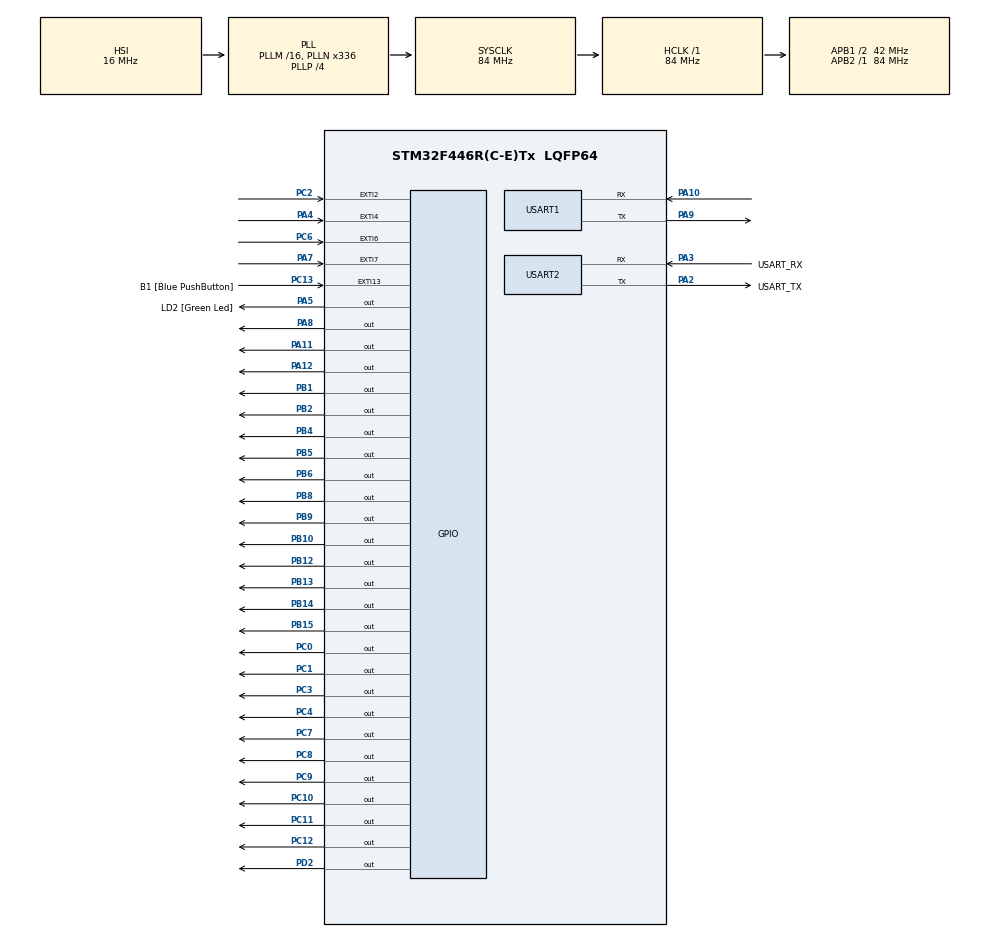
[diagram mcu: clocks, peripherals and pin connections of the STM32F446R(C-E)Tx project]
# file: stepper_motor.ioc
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Mcu.Family=STM32F4
Mcu.Name=STM32F446R(C-E)Tx
Mcu.Package=LQFP64
NVIC.PriorityGroup=NVIC_PRIORITYGROUP_0
NVIC.TIM2_IRQn=true\:0\:0\:false\:false\:true\:true\:true\:true
PA10.Mode=Asynchronous
PA10.Signal=USART1_RX
PA11.Signal=GPIO_Output
PA12.Signal=GPIO_Output
PA13.GPIO_Label=TMS
PA13.Mode=Serial_Wire
PA13.Signal=SYS_JTMS-SWDIO
PA14.GPIO_Label=TCK
PA14.Mode=Serial_Wire
PA14.Signal=SYS_JTCK-SWCLK
PA2.GPIO_Label=USART_TX
PA2.Mode=Asynchronous
PA2.Signal=USART2_TX
PA3.GPIO_Label=USART_RX
PA3.Mode=Asynchronous
PA3.Signal=USART2_RX
PA4.Signal=GPXTI4
PA5.GPIO_Label=LD2 [Green Led]
PA5.Signal=GPIO_Output
PA7.Signal=GPXTI7
PA8.Signal=GPIO_Output
PA9.Mode=Asynchronous
PA9.Signal=USART1_TX
PB1.Signal=GPIO_Output
PB10.Signal=GPIO_Output
PB12.Signal=GPIO_Output
PB13.Signal=GPIO_Output
PB14.Signal=GPIO_Output
PB15.Signal=GPIO_Output
PB2.Signal=GPIO_Output
PB3.GPIO_Label=SWO
PB3.Signal=SYS_JTDO-SWO
PB4.Signal=GPIO_Output
PB5.Signal=GPIO_Output
PB6.Signal=GPIO_Output
PB8.Signal=GPIO_Output
PB9.Signal=GPIO_Output
PC0.Signal=GPIO_Output
PC1.Signal=GPIO_Output
PC10.Signal=GPIO_Output
PC11.Signal=GPIO_Output
PC12.Signal=GPIO_Output
PC13.GPIO_Label=B1 [Blue PushButton]
PC13.GPIO_ModeDefaultEXTI=GPIO_MODE_IT_FALLING
PC13.Signal=GPXTI13
PC14-OSC32_IN.Mode=LSE-External-Oscillator
PC14-OSC32_IN.Signal=RCC_OSC32_IN
PC15-OSC32_OUT.Mode=LSE-External-Oscillator
PC15-OSC32_OUT.Signal=RCC_OSC32_OUT
PC2.Signal=GPXTI2
PC3.Signal=GPIO_Output
PC4.Signal=GPIO_Output
PC6.Signal=GPXTI6
PC7.Signal=GPIO_Output
PC8.Signal=GPIO_Output
PC9.Signal=GPIO_Output
PD2.Signal=GPIO_Output
PH0-OSC_IN.Mode=HSE-External-Oscillator
PH0-OSC_IN.Signal=RCC_OSC_IN
PH1-OSC_OUT.Mode=HSE-External-Oscillator
PH1-OSC_OUT.Signal=RCC_OSC_OUT
ProjectManager.HeapSize=0x200
ProjectManager.StackSize=0x400
ProjectManager.TargetToolchain=STM32CubeIDE
RCC.48MHZClocksFreq_Value=84000000
RCC.AHBFreq_Value=84000000
RCC.APB1CLKDivider=RCC_HCLK_DIV2
RCC.APB1Freq_Value=42000000
RCC.APB1TimFreq_Value=84000000
RCC.APB2Freq_Value=84000000
RCC.APB2TimFreq_Value=84000000
RCC.CortexFreq_Value=84000000
RCC.FLatency-AdvancedSettings=FLASH_LATENCY_2
RCC.HCLKFreq_Value=84000000
RCC.HSE_VALUE=8000000
RCC.HSI_VALUE=16000000
RCC.PLLN=336
RCC.PLLP=RCC_PLLP_DIV4
RCC.SYSCLKFreq_VALUE=84000000
RCC.SYSCLKSource=RCC_SYSCLKSOURCE_PLLCLK
RCC.USBFreq_Value=168000000
RCC.VCOOutputFreq_Value=336000000
USART1.VirtualMode=VM_ASYNC
USART2.VirtualMode=VM_ASYNC
VP_TIM1_VS_ClockSourceINT.Mode=Internal
VP_TIM2_VS_ClockSourceINT.Mode=Internal
board=NUCLEO-F446RE

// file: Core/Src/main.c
/* USER CODE BEGIN Header */
/**
  ******************************************************************************
  * @file           : main.c
  * @brief          : Main program body
  ******************************************************************************
  * @attention
  *
  * Copyright (c) 2026 STMicroelectronics.
  * All rights reserved.
  *
  * This software is licensed under terms that can be found in the LICENSE file
  * in the root directory of this software component.
  * If no LICENSE file comes with this software, it is provided AS-IS.
  *
  ******************************************************************************
  */
/* USER CODE END Header */
#include "main.h"

/* USER CODE BEGIN Includes */
#include <stdio.h>
#include <math.h>
#include <stdlib.h>
#include <string.h>
/* USER CODE END Includes */

/* USER CODE BEGIN PD */
#ifdef __GNUC__
#define PUTCHAR_PROTOTYPE int __io_putchar(int ch)
#else
#define PUTCHAR_PROTOTYPE int fputc(int ch, FILE *f)
#endif

PUTCHAR_PROTOTYPE {
	if (ch == '\n')
		HAL_UART_Transmit(&huart2, (uint8_t*) "\r", 1, 0xFFFF);
	HAL_UART_Transmit(&huart2, (uint8_t*) &ch, 1, 0xFFFF);
	return ch;
}
/* USER CODE END PD */

TIM_HandleTypeDef htim1;
TIM_HandleTypeDef htim2;

UART_HandleTypeDef huart1;
UART_HandleTypeDef huart2;

/* USER CODE BEGIN PV */
void loop(void);
void moveStepper3(float distance_move_x, float distance_move_y);
void z_motor(void);
void move_to_bin(char bin[], int steps_needed_x, int steps_needed_y);
void moveStepper4(float distance_move_x, float distance_move_y);
int calculate_steps_to_move(float distance_mm, float pitch_mm, int pulley_teeth,
		float step_angle_deg);
void delay_us(uint32_t us);
void send_uart_message(const char *msg);
/* USER CODE END PV */

void SystemClock_Config(void);
static void MX_GPIO_Init(void);
static void MX_USART2_UART_Init(void);
static void MX_USART1_UART_Init(void);
static void MX_TIM1_Init(void);
static void MX_TIM2_Init(void);

/* USER CODE BEGIN 0 */
/* ===== UART RX (USART1) ===== */
#define RX_BUFFER_SIZE 64

volatile uint8_t rx_data = 0;
volatile char rx_buffer[RX_BUFFER_SIZE];
volatile uint16_t rx_index = 0;

volatile uint8_t data_received = 0;
volatile uint8_t received_first_value = 0;   // 0: x, 1: y, 2: object_type

volatile float distance_to_move  = 0.0f;
volatile float distance_to_move2 = 0.0f;

volatile uint8_t coordinates_received   = 0;
volatile uint8_t object_type_received   = 0;

char object_type[16] = {0};
char last_object[16] = {0};

/* ===== State flags ===== */
volatile uint8_t flag1 = 1;
volatile uint8_t flag2 = 0;
volatile uint8_t flag3 = 0;

/* ===== Step 계산/보관 ===== */
volatile int steps_needed_x2 = 0;
volatile int steps_needed_y2 = 0;

/* ===== Home / Limit switch 상태 =====
 * 1: 아직 스위치 안눌림(이동 계속), 0: 스위치 눌림(정지/완료)
 */
volatile uint8_t x_right_switch = 1;
volatile uint8_t y_switch       = 1;
volatile uint8_t z_switch       = 1;
volatile uint8_t z_rail_switch  = 1;

/* ===== Timer watchdog ===== */
volatile uint32_t timer_count = 0;
const uint32_t max_timer_count = 3000;   // 필요에 맞게 조정

/* ===== Bin 좌표(스텝 기준) / 현재 위치 =====
 * 아래 값들은 실제 장비 캘리브레이션 값으로 바꿔주세요.
 */
int can_bin_x   = 0;
int can_bin_y   = 0;
int pet_bin_x   = 0;
int pet_bin_y   = 0;
int glass_bin_x = 0;
int glass_bin_y = 0;

int current_x = 0;
int current_y = 0;

/* USER CODE END 0 */

int main(void)
{

  /* MCU Configuration--------------------------------------------------------*/

  /* Reset of all peripherals, Initializes the Flash interface and the Systick. */
  HAL_Init();

  /* Configure the system clock */
  SystemClock_Config();

  /* Initialize all configured peripherals */
  MX_GPIO_Init();
  MX_USART2_UART_Init();
  MX_USART1_UART_Init();
  MX_TIM1_Init();
  MX_TIM2_Init();
  /* USER CODE BEGIN 2 */
  HAL_UART_Receive_IT(&huart2, (uint8_t*)&rx_data, 1);
   HAL_TIM_Base_Start_IT(&htim1);
  /* USER CODE END 2 */

  /* Infinite loop */
  /* USER CODE BEGIN WHILE */
  while (1)
  {
	  loop();
    /* USER CODE END WHILE */

  }
}

void SystemClock_Config(void)
{
  RCC_OscInitTypeDef RCC_OscInitStruct = {0};
  RCC_ClkInitTypeDef RCC_ClkInitStruct = {0};

  /** Configure the main internal regulator output voltage
  */
  __HAL_RCC_PWR_CLK_ENABLE();
  __HAL_PWR_VOLTAGESCALING_CONFIG(PWR_REGULATOR_VOLTAGE_SCALE3);

  /** Initializes the RCC Oscillators according to the specified parameters
  * in the RCC_OscInitTypeDef structure.
  */
  RCC_OscInitStruct.OscillatorType = RCC_OSCILLATORTYPE_HSI;
  RCC_OscInitStruct.HSIState = RCC_HSI_ON;
  RCC_OscInitStruct.HSICalibrationValue = RCC_HSICALIBRATION_DEFAULT;
  RCC_OscInitStruct.PLL.PLLState = RCC_PLL_ON;
  RCC_OscInitStruct.PLL.PLLSource = RCC_PLLSOURCE_HSI;
  RCC_OscInitStruct.PLL.PLLM = 16;
  RCC_OscInitStruct.PLL.PLLN = 336;
  RCC_OscInitStruct.PLL.PLLP = RCC_PLLP_DIV4;
  RCC_OscInitStruct.PLL.PLLQ = 2;
  RCC_OscInitStruct.PLL.PLLR = 2;
  if (HAL_RCC_OscConfig(&RCC_OscInitStruct) != HAL_OK)
  {
    Error_Handler();
  }

  /** Initializes the CPU, AHB and APB buses clocks
  */
  RCC_ClkInitStruct.ClockType = RCC_CLOCKTYPE_HCLK|RCC_CLOCKTYPE_SYSCLK
                              |RCC_CLOCKTYPE_PCLK1|RCC_CLOCKTYPE_PCLK2;
  RCC_ClkInitStruct.SYSCLKSource = RCC_SYSCLKSOURCE_PLLCLK;
  RCC_ClkInitStruct.AHBCLKDivider = RCC_SYSCLK_DIV1;
  RCC_ClkInitStruct.APB1CLKDivider = RCC_HCLK_DIV2;
  RCC_ClkInitStruct.APB2CLKDivider = RCC_HCLK_DIV1;

  if (HAL_RCC_ClockConfig(&RCC_ClkInitStruct, FLASH_LATENCY_2) != HAL_OK)
  {
    Error_Handler();
  }
}

static void MX_TIM1_Init(void)
{

  TIM_ClockConfigTypeDef sClockSourceConfig = {0};
  TIM_MasterConfigTypeDef sMasterConfig = {0};

  htim1.Instance = TIM1;
  htim1.Init.Prescaler = 0;
  htim1.Init.CounterMode = TIM_COUNTERMODE_UP;
  htim1.Init.Period = 65535;
  htim1.Init.ClockDivision = TIM_CLOCKDIVISION_DIV1;
  htim1.Init.RepetitionCounter = 0;
  htim1.Init.AutoReloadPreload = TIM_AUTORELOAD_PRELOAD_DISABLE;
  if (HAL_TIM_Base_Init(&htim1) != HAL_OK)
  {
    Error_Handler();
  }
  sClockSourceConfig.ClockSource = TIM_CLOCKSOURCE_INTERNAL;
  if (HAL_TIM_ConfigClockSource(&htim1, &sClockSourceConfig) != HAL_OK)
  {
    Error_Handler();
  }
  sMasterConfig.MasterOutputTrigger = TIM_TRGO_RESET;
  sMasterConfig.MasterSlaveMode = TIM_MASTERSLAVEMODE_DISABLE;
  if (HAL_TIMEx_MasterConfigSynchronization(&htim1, &sMasterConfig) != HAL_OK)
  {
    Error_Handler();
  }

}

static void MX_TIM2_Init(void)
{

  TIM_ClockConfigTypeDef sClockSourceConfig = {0};
  TIM_MasterConfigTypeDef sMasterConfig = {0};

  htim2.Instance = TIM2;
  htim2.Init.Prescaler = 0;
  htim2.Init.CounterMode = TIM_COUNTERMODE_UP;
  htim2.Init.Period = 4294967295;
  htim2.Init.ClockDivision = TIM_CLOCKDIVISION_DIV1;
  htim2.Init.AutoReloadPreload = TIM_AUTORELOAD_PRELOAD_DISABLE;
  if (HAL_TIM_Base_Init(&htim2) != HAL_OK)
  {
    Error_Handler();
  }
  sClockSourceConfig.ClockSource = TIM_CLOCKSOURCE_INTERNAL;
  if (HAL_TIM_ConfigClockSource(&htim2, &sClockSourceConfig) != HAL_OK)
  {
    Error_Handler();
  }
  sMasterConfig.MasterOutputTrigger = TIM_TRGO_RESET;
  sMasterConfig.MasterSlaveMode = TIM_MASTERSLAVEMODE_DISABLE;
  if (HAL_TIMEx_MasterConfigSynchronization(&htim2, &sMasterConfig) != HAL_OK)
  {
    Error_Handler();
  }

}

static void MX_USART1_UART_Init(void)
{

  huart1.Instance = USART1;
  huart1.Init.BaudRate = 115200;
  huart1.Init.WordLength = UART_WORDLENGTH_8B;
  huart1.Init.StopBits = UART_STOPBITS_1;
  huart1.Init.Parity = UART_PARITY_NONE;
  huart1.Init.Mode = UART_MODE_TX_RX;
  huart1.Init.HwFlowCtl = UART_HWCONTROL_NONE;
  huart1.Init.OverSampling = UART_OVERSAMPLING_16;
  if (HAL_UART_Init(&huart1) != HAL_OK)
  {
    Error_Handler();
  }

}

static void MX_USART2_UART_Init(void)
{

  huart2.Instance = USART2;
  huart2.Init.BaudRate = 115200;
  huart2.Init.WordLength = UART_WORDLENGTH_8B;
  huart2.Init.StopBits = UART_STOPBITS_1;
  huart2.Init.Parity = UART_PARITY_NONE;
  huart2.Init.Mode = UART_MODE_TX_RX;
  huart2.Init.HwFlowCtl = UART_HWCONTROL_NONE;
  huart2.Init.OverSampling = UART_OVERSAMPLING_16;
  if (HAL_UART_Init(&huart2) != HAL_OK)
  {
    Error_Handler();
  }

}

static void MX_GPIO_Init(void)
{
  GPIO_InitTypeDef GPIO_InitStruct = {0};

  /* GPIO Ports Clock Enable */
  __HAL_RCC_GPIOC_CLK_ENABLE();
  __HAL_RCC_GPIOH_CLK_ENABLE();
  __HAL_RCC_GPIOA_CLK_ENABLE();
  __HAL_RCC_GPIOB_CLK_ENABLE();
  __HAL_RCC_GPIOD_CLK_ENABLE();

  /*Configure GPIO pin Output Level */
  HAL_GPIO_WritePin(GPIOC, GPIO_PIN_0|GPIO_PIN_1|GPIO_PIN_3|GPIO_PIN_4
                          |GPIO_PIN_7|GPIO_PIN_8|GPIO_PIN_9|GPIO_PIN_10
                          |GPIO_PIN_11|GPIO_PIN_12, GPIO_PIN_RESET);

  /*Configure GPIO pin Output Level */
  HAL_GPIO_WritePin(GPIOA, LD2_Pin|GPIO_PIN_8|GPIO_PIN_11|GPIO_PIN_12, GPIO_PIN_RESET);

  /*Configure GPIO pin Output Level */
  HAL_GPIO_WritePin(GPIOB, GPIO_PIN_1|GPIO_PIN_2|GPIO_PIN_10|GPIO_PIN_12
                          |GPIO_PIN_13|GPIO_PIN_14|GPIO_PIN_15|GPIO_PIN_4
                          |GPIO_PIN_5|GPIO_PIN_6|GPIO_PIN_8|GPIO_PIN_9, GPIO_PIN_RESET);

  /*Configure GPIO pin Output Level */
  HAL_GPIO_WritePin(GPIOD, GPIO_PIN_2, GPIO_PIN_RESET);

  /*Configure GPIO pin : B1_Pin */
  GPIO_InitStruct.Pin = B1_Pin;
  GPIO_InitStruct.Mode = GPIO_MODE_IT_FALLING;
  GPIO_InitStruct.Pull = GPIO_NOPULL;
  HAL_GPIO_Init(B1_GPIO_Port, &GPIO_InitStruct);

  /*Configure GPIO pins : PC0 PC1 PC3 PC4
                           PC7 PC8 PC9 PC10
                           PC11 PC12 */
  GPIO_InitStruct.Pin = GPIO_PIN_0|GPIO_PIN_1|GPIO_PIN_3|GPIO_PIN_4
                          |GPIO_PIN_7|GPIO_PIN_8|GPIO_PIN_9|GPIO_PIN_10
                          |GPIO_PIN_11|GPIO_PIN_12;
  GPIO_InitStruct.Mode = GPIO_MODE_OUTPUT_PP;
  GPIO_InitStruct.Pull = GPIO_NOPULL;
  GPIO_InitStruct.Speed = GPIO_SPEED_FREQ_LOW;
  HAL_GPIO_Init(GPIOC, &GPIO_InitStruct);

  /*Configure GPIO pins : PC2 PC6 */
  GPIO_InitStruct.Pin = GPIO_PIN_2|GPIO_PIN_6;
  GPIO_InitStruct.Mode = GPIO_MODE_IT_RISING;
  GPIO_InitStruct.Pull = GPIO_NOPULL;
  HAL_GPIO_Init(GPIOC, &GPIO_InitStruct);

  /*Configure GPIO pins : PA4 PA7 */
  GPIO_InitStruct.Pin = GPIO_PIN_4|GPIO_PIN_7;
  GPIO_InitStruct.Mode = GPIO_MODE_IT_RISING;
  GPIO_InitStruct.Pull = GPIO_NOPULL;
  HAL_GPIO_Init(GPIOA, &GPIO_InitStruct);

  /*Configure GPIO pins : LD2_Pin PA8 PA11 PA12 */
  GPIO_InitStruct.Pin = LD2_Pin|GPIO_PIN_8|GPIO_PIN_11|GPIO_PIN_12;
  GPIO_InitStruct.Mode = GPIO_MODE_OUTPUT_PP;
  GPIO_InitStruct.Pull = GPIO_NOPULL;
  GPIO_InitStruct.Speed = GPIO_SPEED_FREQ_LOW;
  HAL_GPIO_Init(GPIOA, &GPIO_InitStruct);

  /*Configure GPIO pins : PB1 PB2 PB10 PB12
                           PB13 PB14 PB15 PB4
                           PB5 PB6 PB8 PB9 */
  GPIO_InitStruct.Pin = GPIO_PIN_1|GPIO_PIN_2|GPIO_PIN_10|GPIO_PIN_12
                          |GPIO_PIN_13|GPIO_PIN_14|GPIO_PIN_15|GPIO_PIN_4
                          |GPIO_PIN_5|GPIO_PIN_6|GPIO_PIN_8|GPIO_PIN_9;
  GPIO_InitStruct.Mode = GPIO_MODE_OUTPUT_PP;
  GPIO_InitStruct.Pull = GPIO_NOPULL;
  GPIO_InitStruct.Speed = GPIO_SPEED_FREQ_LOW;
  HAL_GPIO_Init(GPIOB, &GPIO_InitStruct);

  /*Configure GPIO pin : PD2 */
  GPIO_InitStruct.Pin = GPIO_PIN_2;
  GPIO_InitStruct.Mode = GPIO_MODE_OUTPUT_PP;
  GPIO_InitStruct.Pull = GPIO_NOPULL;
  GPIO_InitStruct.Speed = GPIO_SPEED_FREQ_LOW;
  HAL_GPIO_Init(GPIOD, &GPIO_InitStruct);

}

/* USER CODE BEGIN 4 */
void loop(void) {
	HAL_GPIO_WritePin(GPIOB, GPIO_PIN_8, GPIO_PIN_RESET);
	HAL_GPIO_WritePin(GPIOB, GPIO_PIN_9, GPIO_PIN_RESET);
	HAL_GPIO_WritePin(GPIOC, GPIO_PIN_9, GPIO_PIN_RESET);
	HAL_GPIO_WritePin(GPIOB, GPIO_PIN_4, GPIO_PIN_RESET);
	HAL_GPIO_WritePin(GPIOC, GPIO_PIN_10, GPIO_PIN_RESET);
	HAL_GPIO_WritePin(GPIOC, GPIO_PIN_12, GPIO_PIN_RESET);
	HAL_GPIO_WritePin(GPIOB, GPIO_PIN_2, GPIO_PIN_RESET);
	if (flag1) {
		if (data_received) {
			moveStepper3(distance_to_move, distance_to_move2);
			flag1 = 0;
			flag2 = 1;
			x_right_switch = y_switch = z_switch = z_rail_switch = 1;
			timer_count = 0;
			HAL_TIM_Base_Start_IT(&htim1);
		}
	}
	if (flag2) {
		if (object_type_received) {
			if (strcmp(object_type, "can") == 0
					|| strcmp(object_type, "pet") == 0
					|| strcmp(object_type, "glass") == 0) {
				move_to_bin(object_type, steps_needed_x2, steps_needed_y2);
				if (strcmp(last_object, object_type) != 0) {
					strcpy(last_object, object_type);
				}
				x_right_switch = y_switch = z_switch = z_rail_switch = 1;
				flag2 = 0;
				flag3 = 1;
				object_type_received = 0;
				timer_count = 0;
				HAL_TIM_Base_Start_IT(&htim1);
			}
		}
	}
	if (flag3) {
		if (coordinates_received) {
			moveStepper4(distance_to_move, distance_to_move2);
			coordinates_received = 0;
			x_right_switch = y_switch = z_switch = z_rail_switch = 1;
			flag3 = 0;
			flag2 = 1;
			timer_count = 0;
			HAL_TIM_Base_Start_IT(&htim1);
		}
	}
}

void moveStepper3(float distance_move_x, float distance_move_y) {

	int steps_needed_x = calculate_steps_to_move(fabs(distance_move_x), 2.0, 20,
			0.45);
	int steps_needed_y = calculate_steps_to_move(fabs(distance_move_y), 2.0, 20,
			0.45);

	steps_needed_x2 = steps_needed_x - 3600 - 3500;
	steps_needed_y2 = 7300 - 2000 - steps_needed_y;

	if (distance_move_x < 0.0) {
		HAL_GPIO_WritePin(GPIOB, GPIO_PIN_6, GPIO_PIN_RESET);
		HAL_GPIO_WritePin(GPIOC, GPIO_PIN_7, GPIO_PIN_SET);
		HAL_GPIO_WritePin(GPIOA, GPIO_PIN_12, GPIO_PIN_RESET);
		HAL_GPIO_WritePin(GPIOA, GPIO_PIN_11, GPIO_PIN_SET);
	} else {
		HAL_GPIO_WritePin(GPIOB, GPIO_PIN_6, GPIO_PIN_SET);
		HAL_GPIO_WritePin(GPIOC, GPIO_PIN_7, GPIO_PIN_RESET);
		HAL_GPIO_WritePin(GPIOA, GPIO_PIN_12, GPIO_PIN_SET);
		HAL_GPIO_WritePin(GPIOA, GPIO_PIN_11, GPIO_PIN_RESET);
	}

	if (distance_move_y < 0.0) {
		HAL_GPIO_WritePin(GPIOC, GPIO_PIN_11, GPIO_PIN_RESET);
		HAL_GPIO_WritePin(GPIOD, GPIO_PIN_2, GPIO_PIN_SET);
	} else {
		HAL_GPIO_WritePin(GPIOC, GPIO_PIN_11, GPIO_PIN_SET);
		HAL_GPIO_WritePin(GPIOD, GPIO_PIN_2, GPIO_PIN_RESET);
	}

	steps_needed_x2 = fabs(steps_needed_x2);
	steps_needed_y2 = fabs(steps_needed_y2);

	int max_steps =
			(steps_needed_x2 > steps_needed_y2) ?
					steps_needed_x2 : steps_needed_y2;
	int step_x = 0;
	int step_y = 0;

	for (int i = 0; i < max_steps; i++) {

		if (step_x < steps_needed_x2
				&& (i % (max_steps / steps_needed_x2)) == 0) {
			HAL_GPIO_WritePin(GPIOA, GPIO_PIN_8, GPIO_PIN_SET);
			HAL_GPIO_WritePin(GPIOB, GPIO_PIN_10, GPIO_PIN_RESET);
			HAL_GPIO_WritePin(GPIOB, GPIO_PIN_12, GPIO_PIN_SET);
			HAL_GPIO_WritePin(GPIOB, GPIO_PIN_11, GPIO_PIN_RESET);
			delay_us(150);
			HAL_GPIO_WritePin(GPIOA, GPIO_PIN_8, GPIO_PIN_RESET);
			HAL_GPIO_WritePin(GPIOB, GPIO_PIN_10, GPIO_PIN_SET);
			HAL_GPIO_WritePin(GPIOB, GPIO_PIN_12, GPIO_PIN_RESET);
			HAL_GPIO_WritePin(GPIOB, GPIO_PIN_11, GPIO_PIN_SET);
			step_x++;
		}

		if (step_y < steps_needed_y2
				&& (i % (max_steps / steps_needed_y2)) == 0) {
			HAL_GPIO_WritePin(GPIOC, GPIO_PIN_2, GPIO_PIN_SET);
			HAL_GPIO_WritePin(GPIOC, GPIO_PIN_3, GPIO_PIN_RESET);
			delay_us(150);
			HAL_GPIO_WritePin(GPIOC, GPIO_PIN_2, GPIO_PIN_RESET);
			HAL_GPIO_WritePin(GPIOC, GPIO_PIN_3, GPIO_PIN_SET);
			step_y++;
		}

		delay_us(150);
	}

	distance_move_x = 0.0;
	distance_move_y = 0.0;

	z_motor();
}

void z_motor(void) {

	HAL_GPIO_WritePin(GPIOC, GPIO_PIN_4, GPIO_PIN_SET);

	for (int i = 0; i < 35000; i++) {

		HAL_GPIO_WritePin(GPIOB, GPIO_PIN_1, GPIO_PIN_SET);
		delay_us(500);
		HAL_GPIO_WritePin(GPIOB, GPIO_PIN_1, GPIO_PIN_RESET);
		delay_us(500);

		if (z_rail_switch == 0) {
			break;
		}
	}

	HAL_GPIO_WritePin(GPIOC, GPIO_PIN_1, GPIO_PIN_SET);
	HAL_Delay(3000);

	HAL_GPIO_WritePin(GPIOC, GPIO_PIN_4, GPIO_PIN_RESET);

	for (int i = 0; i < 6000; i++) {
		HAL_GPIO_WritePin(GPIOB, GPIO_PIN_1, GPIO_PIN_SET);
		delay_us(500);
		HAL_GPIO_WritePin(GPIOB, GPIO_PIN_1, GPIO_PIN_RESET);
		delay_us(500);
	}

	send_uart_message("yes\n");
}

void move_to_bin(char bin[], int steps_needed_x, int steps_needed_y) {

	HAL_TIM_Base_Stop_IT(&htim1);

	if (strcmp(bin, "can") == 0) {
		int can_move_x = can_bin_x - steps_needed_x;
		int can_move_y = can_bin_y - steps_needed_y;
		current_x = can_bin_x;
		current_y = can_bin_y;

		if (can_move_x < 0) {
			HAL_GPIO_WritePin(GPIOB, GPIO_PIN_6, GPIO_PIN_RESET);
			HAL_GPIO_WritePin(GPIOC, GPIO_PIN_7, GPIO_PIN_SET);
			HAL_GPIO_WritePin(GPIOA, GPIO_PIN_12, GPIO_PIN_RESET);
			HAL_GPIO_WritePin(GPIOA, GPIO_PIN_11, GPIO_PIN_SET);

		} else if (can_move_x > 0) {

			HAL_GPIO_WritePin(GPIOB, GPIO_PIN_6, GPIO_PIN_SET);
			HAL_GPIO_WritePin(GPIOC, GPIO_PIN_7, GPIO_PIN_RESET);
			HAL_GPIO_WritePin(GPIOA, GPIO_PIN_12, GPIO_PIN_SET);
			HAL_GPIO_WritePin(GPIOA, GPIO_PIN_11, GPIO_PIN_RESET);

		}

		if (can_move_y < 0) {
			HAL_GPIO_WritePin(GPIOC, GPIO_PIN_11, GPIO_PIN_RESET);
			HAL_GPIO_WritePin(GPIOD, GPIO_PIN_2, GPIO_PIN_SET);
		} else if (can_move_y > 0) {
			HAL_GPIO_WritePin(GPIOC, GPIO_PIN_11, GPIO_PIN_SET);
			HAL_GPIO_WritePin(GPIOD, GPIO_PIN_2, GPIO_PIN_RESET);
		}

		int additional_steps_x = fabs(can_move_x);
		int additional_steps_y = fabs(can_move_y);
		int additional_max_steps =
				(additional_steps_x > additional_steps_y) ?
						additional_steps_x : additional_steps_y;
		int step_x = 0;
		int step_y = 0;

		for (int i = 0; i < additional_max_steps; i++) {

			if (step_x < additional_steps_x
					&& (i % (additional_max_steps / additional_steps_x)) == 0) {
				HAL_GPIO_WritePin(GPIOA, GPIO_PIN_8, GPIO_PIN_SET);
				HAL_GPIO_WritePin(GPIOB, GPIO_PIN_10, GPIO_PIN_RESET);
				HAL_GPIO_WritePin(GPIOB, GPIO_PIN_12, GPIO_PIN_SET);
				HAL_GPIO_WritePin(GPIOB, GPIO_PIN_11, GPIO_PIN_RESET);
				delay_us(150);
				HAL_GPIO_WritePin(GPIOA, GPIO_PIN_8, GPIO_PIN_RESET);
				HAL_GPIO_WritePin(GPIOB, GPIO_PIN_10, GPIO_PIN_SET);
				HAL_GPIO_WritePin(GPIOB, GPIO_PIN_12, GPIO_PIN_RESET);
				HAL_GPIO_WritePin(GPIOB, GPIO_PIN_11, GPIO_PIN_SET);
				step_x++;
			}

			if (step_y < additional_steps_y
					&& (i % (additional_max_steps / additional_steps_y)) == 0) {
				HAL_GPIO_WritePin(GPIOC, GPIO_PIN_2, GPIO_PIN_SET);
				HAL_GPIO_WritePin(GPIOC, GPIO_PIN_3, GPIO_PIN_RESET);
				delay_us(150);
				HAL_GPIO_WritePin(GPIOC, GPIO_PIN_2, GPIO_PIN_RESET);
				HAL_GPIO_WritePin(GPIOC, GPIO_PIN_3, GPIO_PIN_SET);
				step_y++;
			}

			delay_us(150);

		}

	}

	else if (strcmp(bin, "pet") == 0) {
		int pet_move_x = pet_bin_x - steps_needed_x;
		int pet_move_y = pet_bin_y - steps_needed_y;
		current_x = pet_bin_x;
		current_y = pet_bin_y;

		if (pet_move_x < 0) {
			HAL_GPIO_WritePin(GPIOB, GPIO_PIN_6, GPIO_PIN_RESET);
			HAL_GPIO_WritePin(GPIOC, GPIO_PIN_7, GPIO_PIN_SET);
			HAL_GPIO_WritePin(GPIOA, GPIO_PIN_12, GPIO_PIN_RESET);
			HAL_GPIO_WritePin(GPIOA, GPIO_PIN_11, GPIO_PIN_SET);

		} else if (pet_move_x > 0) {

			HAL_GPIO_WritePin(GPIOB, GPIO_PIN_6, GPIO_PIN_SET);
			HAL_GPIO_WritePin(GPIOC, GPIO_PIN_7, GPIO_PIN_RESET);
			HAL_GPIO_WritePin(GPIOA, GPIO_PIN_12, GPIO_PIN_SET);
			HAL_GPIO_WritePin(GPIOA, GPIO_PIN_11, GPIO_PIN_RESET);

		}

		if (pet_move_y < 0) {
			HAL_GPIO_WritePin(GPIOC, GPIO_PIN_11, GPIO_PIN_RESET);
			HAL_GPIO_WritePin(GPIOD, GPIO_PIN_2, GPIO_PIN_SET);
		} else if (pet_move_y > 0) {
			HAL_GPIO_WritePin(GPIOC, GPIO_PIN_11, GPIO_PIN_SET);
			HAL_GPIO_WritePin(GPIOD, GPIO_PIN_2, GPIO_PIN_RESET);
		}

		int additional_steps_x = fabs(pet_move_x);
		int additional_steps_y = fabs(pet_move_y);
		int additional_max_steps =
				(additional_steps_x > additional_steps_y) ?
						additional_steps_x : additional_steps_y;
		int step_x = 0;
		int step_y = 0;

		for (int i = 0; i < additional_max_steps; i++) {

			if (step_x < additional_steps_x
					&& (i % (additional_max_steps / additional_steps_x)) == 0) {
				HAL_GPIO_WritePin(GPIOA, GPIO_PIN_8, GPIO_PIN_SET);
				HAL_GPIO_WritePin(GPIOB, GPIO_PIN_10, GPIO_PIN_RESET);
				HAL_GPIO_WritePin(GPIOB, GPIO_PIN_12, GPIO_PIN_SET);
				HAL_GPIO_WritePin(GPIOB, GPIO_PIN_11, GPIO_PIN_RESET);
				delay_us(150);
				HAL_GPIO_WritePin(GPIOA, GPIO_PIN_8, GPIO_PIN_RESET);
				HAL_GPIO_WritePin(GPIOB, GPIO_PIN_10, GPIO_PIN_SET);
				HAL_GPIO_WritePin(GPIOB, GPIO_PIN_12, GPIO_PIN_RESET);
				HAL_GPIO_WritePin(GPIOB, GPIO_PIN_11, GPIO_PIN_SET);
				step_x++;
			}

			if (step_y < additional_steps_y
					&& (i % (additional_max_steps / additional_steps_y)) == 0) {
				HAL_GPIO_WritePin(GPIOC, GPIO_PIN_2, GPIO_PIN_SET);
				HAL_GPIO_WritePin(GPIOC, GPIO_PIN_3, GPIO_PIN_RESET);
				delay_us(150);
				HAL_GPIO_WritePin(GPIOC, GPIO_PIN_2, GPIO_PIN_RESET);
				HAL_GPIO_WritePin(GPIOC, GPIO_PIN_3, GPIO_PIN_SET);
				step_y++;
			}

			delay_us(150);

		}

	}

	else if (strcmp(bin, "glass") == 0) {
		int glass_move_x = glass_bin_x - steps_needed_x;
		int glass_move_y = glass_bin_y - steps_needed_y;
		current_x = glass_bin_x;
		current_y = glass_bin_y;

		if (glass_move_x < 0) {
			HAL_GPIO_WritePin(GPIOB, GPIO_PIN_6, GPIO_PIN_RESET);
			HAL_GPIO_WritePin(GPIOC, GPIO_PIN_7, GPIO_PIN_SET);
			HAL_GPIO_WritePin(GPIOA, GPIO_PIN_12, GPIO_PIN_RESET);
			HAL_GPIO_WritePin(GPIOA, GPIO_PIN_11, GPIO_PIN_SET);

		} else if (glass_move_x > 0) {
			HAL_GPIO_WritePin(GPIOB, GPIO_PIN_6, GPIO_PIN_SET);
			HAL_GPIO_WritePin(GPIOC, GPIO_PIN_7, GPIO_PIN_RESET);
			HAL_GPIO_WritePin(GPIOA, GPIO_PIN_12, GPIO_PIN_SET);
			HAL_GPIO_WritePin(GPIOA, GPIO_PIN_11, GPIO_PIN_RESET);

		}

		if (glass_move_y < 0) {
			HAL_GPIO_WritePin(GPIOC, GPIO_PIN_11, GPIO_PIN_RESET);
			HAL_GPIO_WritePin(GPIOD, GPIO_PIN_2, GPIO_PIN_SET);
		} else if (glass_move_y > 0) {
			HAL_GPIO_WritePin(GPIOC, GPIO_PIN_11, GPIO_PIN_SET);
			HAL_GPIO_WritePin(GPIOD, GPIO_PIN_2, GPIO_PIN_RESET);
		}

		int additional_steps_x = fabs(glass_move_x);
		int additional_steps_y = fabs(glass_move_y);
		int additional_max_steps =
				(additional_steps_x > additional_steps_y) ?
						additional_steps_x : additional_steps_y;
		int step_x = 0;
		int step_y = 0;

		for (int i = 0; i < additional_max_steps; i++) {

			if (step_x < additional_steps_x
					&& (i % (additional_max_steps / additional_steps_x)) == 0) {
				HAL_GPIO_WritePin(GPIOA, GPIO_PIN_8, GPIO_PIN_SET);
				HAL_GPIO_WritePin(GPIOB, GPIO_PIN_10, GPIO_PIN_RESET);
				HAL_GPIO_WritePin(GPIOB, GPIO_PIN_12, GPIO_PIN_SET);
				HAL_GPIO_WritePin(GPIOB, GPIO_PIN_11, GPIO_PIN_RESET);
				delay_us(150);
				HAL_GPIO_WritePin(GPIOA, GPIO_PIN_8, GPIO_PIN_RESET);
				HAL_GPIO_WritePin(GPIOB, GPIO_PIN_10, GPIO_PIN_SET);
				HAL_GPIO_WritePin(GPIOB, GPIO_PIN_12, GPIO_PIN_RESET);
				HAL_GPIO_WritePin(GPIOB, GPIO_PIN_11, GPIO_PIN_SET);
				step_x++;
			}

			if (step_y < additional_steps_y
					&& (i % (additional_max_steps / additional_steps_y)) == 0) {
				HAL_GPIO_WritePin(GPIOC, GPIO_PIN_2, GPIO_PIN_SET);
				HAL_GPIO_WritePin(GPIOC, GPIO_PIN_3, GPIO_PIN_RESET);
				delay_us(150);
				HAL_GPIO_WritePin(GPIOC, GPIO_PIN_2, GPIO_PIN_RESET);
				HAL_GPIO_WritePin(GPIOC, GPIO_PIN_3, GPIO_PIN_SET);
				step_y++;
			}

			delay_us(150);

		}

	}
	distance_to_move = 0.0;
	distance_to_move2 = 0.0;
	HAL_Delay(2000);
	HAL_GPIO_WritePin(GPIOC, GPIO_PIN_1, GPIO_PIN_RESET);
	HAL_Delay(2000);

	send_uart_message("move\n");
}

void moveStepper4(float distance_move_x, float distance_move_y) {

	HAL_TIM_Base_Stop_IT(&htim1);

	int steps_needed_x = calculate_steps_to_move(fabs(distance_move_x), 2.0, 20,
			0.45);
	int steps_needed_y = calculate_steps_to_move(fabs(distance_move_y), 2.0, 20,
			0.45);

	int steps_needed_x3 = (steps_needed_x - 3600 - 3500) - current_x;
	int steps_needed_y3 = (steps_needed_y + 5300) - current_y;

	if (steps_needed_x3 < 0) {
		HAL_GPIO_WritePin(GPIOB, GPIO_PIN_6, GPIO_PIN_RESET);
		HAL_GPIO_WritePin(GPIOC, GPIO_PIN_7, GPIO_PIN_SET);
		HAL_GPIO_WritePin(GPIOA, GPIO_PIN_12, GPIO_PIN_RESET);
		HAL_GPIO_WritePin(GPIOA, GPIO_PIN_11, GPIO_PIN_SET);

	} else {
		HAL_GPIO_WritePin(GPIOB, GPIO_PIN_6, GPIO_PIN_SET);
		HAL_GPIO_WritePin(GPIOC, GPIO_PIN_7, GPIO_PIN_RESET);
		HAL_GPIO_WritePin(GPIOA, GPIO_PIN_12, GPIO_PIN_SET);
		HAL_GPIO_WritePin(GPIOA, GPIO_PIN_11, GPIO_PIN_RESET);

	}

	if (steps_needed_y3 < 0) {
		HAL_GPIO_WritePin(GPIOC, GPIO_PIN_11, GPIO_PIN_RESET);
		HAL_GPIO_WritePin(GPIOD, GPIO_PIN_2, GPIO_PIN_SET);
	} else {
		HAL_GPIO_WritePin(GPIOC, GPIO_PIN_11, GPIO_PIN_SET);
		HAL_GPIO_WritePin(GPIOD, GPIO_PIN_2, GPIO_PIN_RESET);
	}

	steps_needed_x3 = fabs(steps_needed_x3);
	steps_needed_y3 = fabs(steps_needed_y3);

	int max_steps3 =
			(steps_needed_x3 > steps_needed_y3) ?
					steps_needed_x3 : steps_needed_y3;
	int step_x = 0;
	int step_y = 0;

	for (int i = 0; i < max_steps3; i++) {

		if (step_x < steps_needed_x3
				&& (i % (max_steps3 / steps_needed_x3)) == 0) {
			HAL_GPIO_WritePin(GPIOA, GPIO_PIN_8, GPIO_PIN_SET);
			HAL_GPIO_WritePin(GPIOB, GPIO_PIN_10, GPIO_PIN_RESET);
			HAL_GPIO_WritePin(GPIOB, GPIO_PIN_12, GPIO_PIN_SET);
			HAL_GPIO_WritePin(GPIOB, GPIO_PIN_11, GPIO_PIN_RESET);
			delay_us(150);
			HAL_GPIO_WritePin(GPIOA, GPIO_PIN_8, GPIO_PIN_RESET);
			HAL_GPIO_WritePin(GPIOB, GPIO_PIN_10, GPIO_PIN_SET);
			HAL_GPIO_WritePin(GPIOB, GPIO_PIN_12, GPIO_PIN_RESET);
			HAL_GPIO_WritePin(GPIOB, GPIO_PIN_11, GPIO_PIN_SET);
			step_x++;
		}

		if (step_y < steps_needed_y3
				&& (i % (max_steps3 / steps_needed_y3)) == 0) {
			HAL_GPIO_WritePin(GPIOC, GPIO_PIN_2, GPIO_PIN_SET);
			HAL_GPIO_WritePin(GPIOC, GPIO_PIN_3, GPIO_PIN_RESET);
			delay_us(150);
			HAL_GPIO_WritePin(GPIOC, GPIO_PIN_2, GPIO_PIN_RESET);
			HAL_GPIO_WritePin(GPIOC, GPIO_PIN_3, GPIO_PIN_SET);
			step_y++;
		}

		delay_us(150);
	}

	distance_move_x = 0.0;
	distance_move_y = 0.0;
	distance_to_move = 0.0;
	distance_to_move2 = 0.0;
	current_x = 0;
	current_y = 0;
	steps_needed_x2 = steps_needed_x - 3600 - 3500;
	steps_needed_y2 = 7300 - 2000 - steps_needed_y;

	HAL_Delay(1000);

	z_motor();
}

void HAL_TIM_PeriodElapsedCallback(TIM_HandleTypeDef *htim) {
	if (htim->Instance == TIM1) {
		timer_count++;

		if (timer_count >= max_timer_count) {

			HAL_GPIO_WritePin(GPIOB, GPIO_PIN_8, GPIO_PIN_RESET);
			HAL_GPIO_WritePin(GPIOB, GPIO_PIN_9, GPIO_PIN_RESET);
			HAL_GPIO_WritePin(GPIOC, GPIO_PIN_9, GPIO_PIN_RESET);
			HAL_GPIO_WritePin(GPIOB, GPIO_PIN_4, GPIO_PIN_RESET);
			HAL_GPIO_WritePin(GPIOC, GPIO_PIN_10, GPIO_PIN_RESET);
			HAL_GPIO_WritePin(GPIOC, GPIO_PIN_12, GPIO_PIN_RESET);
			HAL_GPIO_WritePin(GPIOB, GPIO_PIN_2, GPIO_PIN_RESET);

			int max_steps = 26000;
			HAL_GPIO_WritePin(GPIOC, GPIO_PIN_4, GPIO_PIN_RESET);

			for (int i = 0; i < max_steps; i++) {
				if (z_switch == 1) {
					HAL_GPIO_WritePin(GPIOB, GPIO_PIN_1, GPIO_PIN_SET);
					delay_us(500);
					HAL_GPIO_WritePin(GPIOB, GPIO_PIN_1, GPIO_PIN_RESET);
					delay_us(500);
				}
			}

			HAL_GPIO_WritePin(GPIOC, GPIO_PIN_11, GPIO_PIN_RESET);
			HAL_GPIO_WritePin(GPIOD, GPIO_PIN_2, GPIO_PIN_SET);

			for (int i = 0; i < max_steps; i++) {
				if (y_switch == 1) {
					HAL_GPIO_WritePin(GPIOC, GPIO_PIN_2, GPIO_PIN_SET);
					HAL_GPIO_WritePin(GPIOC, GPIO_PIN_3, GPIO_PIN_RESET);
					delay_us(150);
					HAL_GPIO_WritePin(GPIOC, GPIO_PIN_2, GPIO_PIN_RESET);
					HAL_GPIO_WritePin(GPIOC, GPIO_PIN_3, GPIO_PIN_SET);
					delay_us(150);
				}
			}

			HAL_GPIO_WritePin(GPIOB, GPIO_PIN_6, GPIO_PIN_RESET);
			HAL_GPIO_WritePin(GPIOC, GPIO_PIN_7, GPIO_PIN_SET);
			HAL_GPIO_WritePin(GPIOA, GPIO_PIN_12, GPIO_PIN_RESET);
			HAL_GPIO_WritePin(GPIOA, GPIO_PIN_11, GPIO_PIN_SET);

			for (int i = 0; i < max_steps; i++) {
				if (x_right_switch == 1) {
					HAL_GPIO_WritePin(GPIOA, GPIO_PIN_8, GPIO_PIN_SET);
					HAL_GPIO_WritePin(GPIOB, GPIO_PIN_10, GPIO_PIN_RESET);
					HAL_GPIO_WritePin(GPIOB, GPIO_PIN_12, GPIO_PIN_SET);
					HAL_GPIO_WritePin(GPIOB, GPIO_PIN_11, GPIO_PIN_RESET);
					delay_us(150);
					HAL_GPIO_WritePin(GPIOA, GPIO_PIN_8, GPIO_PIN_RESET);
					HAL_GPIO_WritePin(GPIOB, GPIO_PIN_10, GPIO_PIN_SET);
					HAL_GPIO_WritePin(GPIOB, GPIO_PIN_12, GPIO_PIN_RESET);
					HAL_GPIO_WritePin(GPIOB, GPIO_PIN_11, GPIO_PIN_SET);
					delay_us(150);
				}
			}

			if (x_right_switch == 0 && y_switch == 0 && z_switch == 0) {
				HAL_GPIO_WritePin(GPIOB, GPIO_PIN_6, GPIO_PIN_SET);
				HAL_GPIO_WritePin(GPIOC, GPIO_PIN_7, GPIO_PIN_RESET);
				HAL_GPIO_WritePin(GPIOA, GPIO_PIN_12, GPIO_PIN_SET);
				HAL_GPIO_WritePin(GPIOA, GPIO_PIN_11, GPIO_PIN_RESET);

				for (int i = 0; i < 3600; i++) {
					HAL_GPIO_WritePin(GPIOA, GPIO_PIN_8, GPIO_PIN_SET);
					HAL_GPIO_WritePin(GPIOB, GPIO_PIN_10, GPIO_PIN_RESET);
					HAL_GPIO_WritePin(GPIOB, GPIO_PIN_12, GPIO_PIN_SET);
					HAL_GPIO_WritePin(GPIOB, GPIO_PIN_11, GPIO_PIN_RESET);

					delay_us(150);
					HAL_GPIO_WritePin(GPIOA, GPIO_PIN_8, GPIO_PIN_RESET);
					HAL_GPIO_WritePin(GPIOB, GPIO_PIN_10, GPIO_PIN_SET);
					HAL_GPIO_WritePin(GPIOB, GPIO_PIN_12, GPIO_PIN_RESET);
					HAL_GPIO_WritePin(GPIOB, GPIO_PIN_11, GPIO_PIN_SET);
					delay_us(150);
				}

				HAL_GPIO_WritePin(GPIOC, GPIO_PIN_4, GPIO_PIN_SET);

				for (int i = 0; i < 7500; i++) {
					HAL_GPIO_WritePin(GPIOB, GPIO_PIN_1, GPIO_PIN_SET);
					delay_us(500);
					HAL_GPIO_WritePin(GPIOB, GPIO_PIN_1, GPIO_PIN_RESET);
					delay_us(500);
				}
			}

			timer_count = 0;
			x_right_switch = y_switch = z_switch = z_rail_switch = 1;

			send_uart_message("move\n");

			HAL_TIM_Base_Stop_IT(&htim1);
		}

	}
}

void HAL_GPIO_EXTI_Callback(uint16_t GPIO_Pin) {
	if (GPIO_Pin == GPIO_PIN_6) {
		y_switch = 0;
	} else if (GPIO_Pin == GPIO_PIN_4) {
		x_right_switch = 0;
	} else if (GPIO_Pin == GPIO_PIN_7) {
		z_switch = 0;
	} else if (GPIO_Pin == GPIO_PIN_2) {
		z_rail_switch = 0;
	}
}

int calculate_steps_to_move(float distance_mm, float pitch_mm, int pulley_teeth,
		float step_angle_deg) {

	float pulley_circumference_mm = pitch_mm * pulley_teeth;

	float step_distance_mm = (pulley_circumference_mm * step_angle_deg) / 360.0;

	int steps_needed = (int) (distance_mm / step_distance_mm);

	return steps_needed;
}

void HAL_UART_RxCpltCallback(UART_HandleTypeDef *huart) {
	if (huart->Instance == USART1) { // Check if the interrupt is from USART1
		if (rx_data == '\n') { // If the received character is a newline, process the buffer
			rx_buffer[rx_index] = '\0'; // Terminate the string with a null character
			data_received = 1; // Flag to indicate data reception is complete

			// Process the first received value (distance_to_move)
			if (received_first_value == 0) {
				distance_to_move = atof(rx_buffer); // Convert the string to a float
				received_first_value = 1; // Mark the first value as received
			}
			// Process the second received value (distance_to_move2)
			else if (received_first_value == 1) {
				distance_to_move2 = atof(rx_buffer); // Convert the second string to a float
				received_first_value = 2; // Mark the second value as received
				coordinates_received = 1; // Indicate that coordinates are fully received
			}
			// Process the third received value (object_type)
			else if (received_first_value == 2) {
				strcpy(object_type, rx_buffer); // Copy the string to object_type
				received_first_value = 0; // Reset to prepare for the next set of data
				object_type_received = 1; // Indicate that the object type is received
				coordinates_received = 0;
			}

			// Clear the buffer for the next data reception
			memset(rx_buffer, 0, RX_BUFFER_SIZE);
			rx_index = 0;
		} else {
			// Add the received character to the buffer
			rx_buffer[rx_index++] = rx_data;

			// Prevent buffer overflow
			if (rx_index >= RX_BUFFER_SIZE) {
				rx_index = 0; // Reset index to avoid overflow
			}
		}

		// Restart the UART interrupt to receive the next character
		HAL_UART_Receive_IT(&huart1, &rx_data, 1);
	}
}

void delay_us(uint32_t us)
{
    uint32_t start = __HAL_TIM_GET_COUNTER(&htim2);
    while ((uint32_t)(__HAL_TIM_GET_COUNTER(&htim2) - start) < us)
    {
        /* busy wait */
    }
}

void send_uart_message(const char *msg)
{
    if (msg == NULL) return;
    uint16_t len = (uint16_t)strlen(msg);
    if (len == 0) return;

    HAL_UART_Transmit(&huart2, (uint8_t*)msg, len, 0xFFFF);
}
/* USER CODE END 4 */

void Error_Handler(void)
{
  __disable_irq();
  while (1)
  {
  }
}
